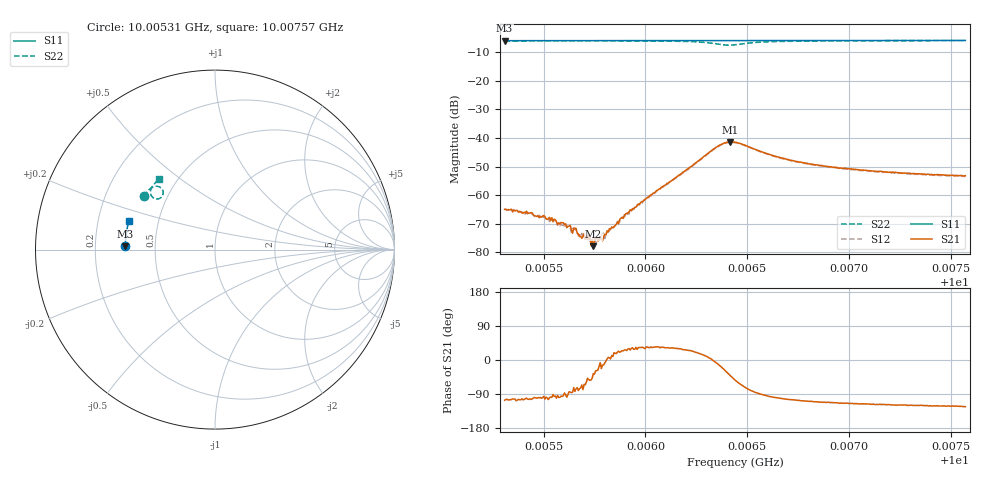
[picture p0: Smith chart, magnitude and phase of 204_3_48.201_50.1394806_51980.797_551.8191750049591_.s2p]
#  HZ  S  RI  R  50.00
! Rohde & Schwarz Vector Network Analyzer
! Rohde-Schwarz,ZNB20-2Port,1311601062101988,3.16
! Created: UTC 3/20/2024, 11:45:10 AM
! freq[Hz]  re:S11  im:S11  re:S21  im:S21  re:S12  im:S12  re:S22  im:S22
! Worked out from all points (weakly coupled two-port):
!   401 points, 10.00531 GHz to 10.00757 GHz, reference 50 ohm
!   highest |S21| = -41.36 dB at 10.00642 GHz (marker M1); lowest = -77.8 dB at 10.00574 GHz (marker M2)
!   lowest |S11| = -6.0 dB at 10.00531 GHz (marker M3), VSWR 3.00, Z = 16.7 + j0.782 ohm
!   |S11| at or under -10 dB: nowhere
!   |S22| runs from -7.6 to -6.0 dB; largest |S21 - S12| = 0.00049
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1.0005309e10  -0.4999 0.0176  -0.000158 -0.000544  -0.000101 -0.000555  -0.3976 0.2963
1.0005433e10  -0.4998 0.0257  -0.000107 -0.000474  -7.34e-05 -0.00047  -0.3925 0.3037
1.0005467e10  -0.4998 0.028  -7.89e-05 -0.000417  -8.34e-05 -0.000453  -0.3911 0.3056
1.0005552e10  -0.4997 0.0334  -4.14e-05 -0.000378  -6.29e-06 -0.000355  -0.3873 0.3107
1.000566e10  -0.4994 0.0405  6.31e-05 -0.000255  1.45e-05 -0.000248  -0.3822 0.3173
1.0005677e10  -0.4992 0.0416  4.71e-05 -0.000184  3.09e-05 -0.000203  -0.3813 0.3183
1.0005688e10  -0.4993 0.0423  7.21e-05 -0.000161  6e-05 -0.000207  -0.3808 0.319
1.0005711e10  -0.4992 0.0437  0.000104 -0.000167  6.52e-05 -0.000155  -0.3795 0.3205
1.0005722e10  -0.4992 0.0445  0.000125 -0.000157  0.0001 -0.00013  -0.3789 0.3211
1.0005744e10  -0.499 0.0459  0.000104 -7.58e-05  0.000148 -9.85e-05  -0.3777 0.3225
1.0005767e10  -0.499 0.0474  0.000142 -7.05e-05  0.000165 -5.87e-05  -0.3765 0.3241
1.0005778e10  -0.499 0.0481  0.000183 -2.23e-05  0.000165 -3.05e-05  -0.3758 0.3247
1.0005812e10  -0.4989 0.0506  0.000239 1.14e-05  0.000224 2.56e-05  -0.3738 0.3268
1.0005914e10  -0.4982 0.0568  0.000424 0.00023  0.000416 0.000265  -0.3672 0.3337
1.0006067e10  -0.4973 0.0667  0.00106 0.000722  0.00101 0.000736  -0.3541 0.3442
1.0006344e10  -0.4946 0.0845  0.00671 -0.000656  0.0066 -0.000302  -0.292 0.3321
1.0006418e10  -0.4937 0.0887  0.00639 -0.00568  0.00653 -0.00523  -0.303 0.2886
1.0006441e10  -0.4936 0.0901  0.00508 -0.00669  0.00533 -0.00631  -0.3167 0.2827
1.0006644e10  -0.4922 0.1031  -0.000748 -0.00468  -0.000546 -0.0046  -0.3594 0.3252
1.000682e10  -0.4902 0.1144  -0.00115 -0.00326  -0.001 -0.00325  -0.3518 0.3471
1.0007199e10  -0.4848 0.1383  -0.00118 -0.00222  -0.00104 -0.00224  -0.332 0.3738
1.0007572e10  -0.4785 0.1614  -0.0012 -0.00183  -0.00107 -0.00183  -0.3127 0.393
